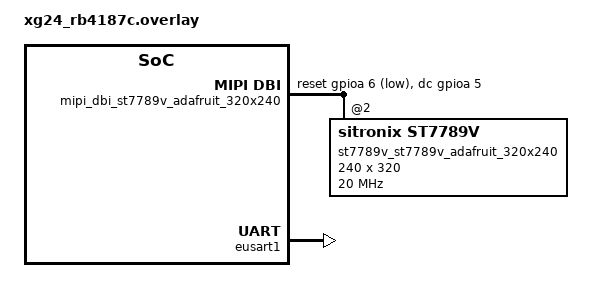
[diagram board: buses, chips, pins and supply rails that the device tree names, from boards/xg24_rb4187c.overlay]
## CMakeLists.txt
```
# SPDX-License-Identifier: Apache-2.0

cmake_minimum_required(VERSION 3.20.0)

find_package(Zephyr REQUIRED HINTS $ENV{ZEPHYR_BASE})
project(zephyr_st7789_demo)

target_sources(app PRIVATE src/main.c)
target_sources(app PRIVATE src/x11font_8x16.c)
target_sources(app PRIVATE src/picture_silabs_logo.c)
target_sources(app PRIVATE src/picture_silabs_gecko.c)
target_sources(app PRIVATE src/picture_silabs_efr32.c)
```

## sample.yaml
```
sample:
  description: The example demonstrate how to use ST7789 SPI display 
    with MIPI driver class on Zephyr OS
  name: Zephyr - ST7789 SPI display demo

tests:
  sample.basic.zephyr_st7789_demo:
    platform_allow : efr32xg24_brd4187c
    tags: experimental
```

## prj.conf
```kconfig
CONFIG_DEBUG=y
CONFIG_NO_OPTIMIZATIONS=y

CONFIG_MAIN_STACK_SIZE=4096

CONFIG_HEAP_MEM_POOL_SIZE=192000
CONFIG_LOG=y
CONFIG_DISPLAY=y
CONFIG_ST7789V_RGB565=y

CONFIG_SPI=y
CONFIG_UART_INTERRUPT_DRIVEN=y
CONFIG_SPI_SILABS_EUSART_DMA=y
```

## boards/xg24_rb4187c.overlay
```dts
/*
 * Copyright (c) 2025 Silabs
 *
 * SPDX-License-Identifier: Apache-2.0
 */

#include <zephyr/dt-bindings/mipi_dbi/mipi_dbi.h>


/ {
    leds {
        status = "disabled";
    };

	chosen {
		zephyr,display = &st7789v_st7789v_adafruit_320x240;

	};

    mipi_dbi_st7789v_adafruit_320x240 {
		compatible = "zephyr,mipi-dbi-spi";
		spi-dev = <&eusart1>;
		dc-gpios = < &gpioa 5 GPIO_ACTIVE_HIGH>;
		reset-gpios = < &gpioa 6 GPIO_ACTIVE_LOW>;
		write-only;
		#address-cells = <1>;
		#size-cells = <0>;

		st7789v_st7789v_adafruit_320x240: st7789v@2 {
			compatible = "sitronix,st7789v";
			mipi-max-frequency = <DT_FREQ_M(20)>;
			reg = <0x2>;
			width = <240>;
			height = <320>;
			x-offset = <0>;
			y-offset = <0>;
            vcom = <0x19>;
            gctrl = <0x35>;
            vrhs = <0x12>;
            vdvs = <0x20>;
            mdac = <0x00>;
            gamma = <0x01>;
            colmod = <0x05>;
            lcm = <0x2c>;
            porch-param = [0c 0c 00 33 33];
            cmd2en-param = [5a 69 02 01];
            pwctrl1-param = [a4 a1];
            pvgam-param = [D0 04 0D 11 13 2B 3F 54 4C 18 0D 0B 1F 23];
            nvgam-param = [D0 04 0C 11 13 2C 3F 44 51 2F 1F 1F 20 23];
            ram-param = [00 F8];
            rgb-param = [CD 08 14];
			mipi-mode = "MIPI_DBI_MODE_SPI_4WIRE";
		};
	};
};

/delete-node/ &ls0xx_ls013b7dh03;

&eusart1 {
	cs-gpios = <&gpioc 8 GPIO_ACTIVE_HIGH>, <&gpioc 4 GPIO_ACTIVE_LOW>, <&gpioc 0 GPIO_ACTIVE_LOW>;
    status = "okay";
};
```

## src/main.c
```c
/*
 * Copyright (c) 2019 Jan Van Winkel <jan.van_winkel@dxplore.eu>
 *
 * Based on ST7789V sample:
 * Copyright (c) 2019 Marc Reilly
 *
 * SPDX-License-Identifier: Apache-2.0
 */

#include <zephyr/logging/log.h>
LOG_MODULE_REGISTER(sample, LOG_LEVEL_INF);

#include <zephyr/kernel.h>
#include <zephyr/device.h>
#include <zephyr/drivers/display.h>
#include <zephyr/drivers/uart.h>
#include <zephyr/sys/byteorder.h>

// IBM like terminal font 8x16px stored in src/x11font_8x16.c
extern const unsigned char ibm_like816[];

// Image struct, exported with GIMP
typedef struct {
  unsigned int   width;
  unsigned int   height;
  unsigned int   bytes_per_pixel; /* 2:RGB16, 3:RGB, 4:RGBA */
  char          *comment;
  unsigned char  pixel_data[240 * 320 * 2 + 1];
} c_image;

// Images from src/picture_silabs_*.c
extern const c_image silabs_logo;
extern const c_image silabs_gecko;
extern const c_image silabs_efr32;

// Macro to convert RGB888 to RGB565 format
// Use input values 0..255 for r, g, b:
#define RGB_TO_RGB565(r, g, b)  ((uint16_t)             \
                                 ((((r) & 0xF8) << 8)   \
                                  | (((g) & 0xFC) << 3) \
                                  | (((b) & 0xF8) >> 3)))

#define COLOR_RGB_565_WHITE     (uint16_t) 0xffff
#define COLOR_RGB_565_BLACK     (uint16_t) 0x0000
#define COLOR_RGB_565_RED       RGB_TO_RGB565(255, 0, 0)
#define COLOR_RGB_565_GREEN     RGB_TO_RGB565(0, 255, 0)
#define COLOR_RGB_565_BLUE      RGB_TO_RGB565(0, 0, 255)

// Each pixel is defined in 2 bytes
#define BYTES_PER_PIXEL         2

// Font definitions to make life easier
#define FONT_ARRAY              ibm_like816
#define FONT_WIDTH              8
#define FONT_HEIGHT             16
// Charecter buffer size
#define CHAR_BUF_SIZE           (FONT_WIDTH * FONT_HEIGHT * BYTES_PER_PIXEL)

// How many characters can be displayed (rows and cols)
#define DISPLAY_FONT_MAX_CHAR_X 30
#define DISPLAY_FONT_MAX_CHAR_Y 20

void display_write_char(const struct device *dev,
                        char ch,
                        uint16_t color,
                        uint16_t bg_color)
{
  static int16_t pos_x = 0, pos_y = 0;
  static uint16_t char_buf[CHAR_BUF_SIZE];
  static struct display_buffer_descriptor char_buf_desc = {
    .buf_size = CHAR_BUF_SIZE,
    .pitch = FONT_WIDTH,
    .width = FONT_WIDTH,
    .height = FONT_HEIGHT,
    .frame_incomplete = true,
  };
  uint16_t pix;

  if (ch == '\0') {
    // In this case set the cursor to start
    pos_x = 0;
    pos_y = 0;
  }

  if ((pos_x == 0) && (pos_y == 0)) {
    // Clean the display if the cursor is top left
    for (uint16_t i = 0; i < char_buf_desc.buf_size; i++) {
      char_buf[i] = bg_color;
    }
    // and cover the display with background
    for (uint16_t j = 0; j < DISPLAY_FONT_MAX_CHAR_Y; j++) {
      for (uint16_t i = 0; i < DISPLAY_FONT_MAX_CHAR_X; i++) {
        // It would be more efficient with larger buffer
        display_write(dev,
                      i * FONT_WIDTH,
                      j * FONT_HEIGHT,
                      &char_buf_desc,
                      char_buf);
      }
    }
  }

  if (ch == '\0') {
    return;
  }

  if (ch == '\r') {
    // Case of new line
    pos_x = 0;
    pos_y++;
  } else {
    // Draw into the buffer the current character font
    // The font has 1 bit per pixel, the buffer has 2 bytes per pixel
    for (uint8_t j = 0; j < FONT_HEIGHT; j++) {
      for (uint8_t i = 0; i < FONT_WIDTH; i++) {
        if (FONT_ARRAY[((uint32_t)ch << 4) + j] & (0x80 >> i)) {
          pix = color;
        } else {
          pix = bg_color;
        }
        char_buf[j * FONT_WIDTH + i] = pix;
      }
    }

    // Send the buffer to the display
    display_write(dev,
                  pos_x * FONT_WIDTH,
                  pos_y * FONT_HEIGHT,
                  &char_buf_desc,
                  char_buf);

    // Step the position for next character
    pos_x++;

    // In case of reaching the end of line:
    if (pos_x == DISPLAY_FONT_MAX_CHAR_X) {
      // Step to he new line
      pos_x = 0;
      pos_y++;
    }
  }

  // In che case of reaching the end of display:
  if (pos_y == DISPLAY_FONT_MAX_CHAR_Y) {
    pos_y = 0;
  }
}

void display_clean_set_bg(uint16_t bg_color,
                          const struct device *dev,
                          const struct display_capabilities *display_cap,
                          uint16_t *buf,
                          const struct display_buffer_descriptor *buf_desc)
{
  // Fill up the buffer with background color
  for (uint16_t i = 0; i < buf_desc->buf_size; i++) {
    buf[i] = bg_color;
  }

  // Cover the entry display with buffer
  for (int y = 0; y < display_cap->y_resolution; y += buf_desc->height) {
    // y is the position where we currently update
    // the display with the partial buffer:
    display_write(dev, 0, y, buf_desc, buf);
  }
}

// Display and serial devices from DTS
static const struct device *const display_dev =
  DEVICE_DT_GET(DT_CHOSEN(zephyr_display));
static const struct device *const uart_dev =
  DEVICE_DT_GET(DT_CHOSEN(zephyr_shell_uart));

volatile char uart_new_ch;

// Keywords for easter egg function (to show pictures)
char keyword_gecko[] = "gecko";
char keyword_silabs[] = "silabs";
char keyword_efr32[] = "efr32";

enum states_t {
  show_welcome,
  waiting_for_uart_input,
  new_char_arrived,
  enter_keyword,
  finished_keyword_silabs,
  finished_keyword_gecko,
  finished_keyword_efr32,
  wait
};

volatile enum states_t demo_app_state = show_welcome;

char welcome_string1[] = "Hi!\r";
char welcome_string2[] =
  "Send something on UART and it will displayed here\r(or try to type gecko;)\r";

// UART callback function
void uart_cb(const struct device *dev, void *user_data)
{
  uint8_t c;

  if (!uart_irq_update(uart_dev)) {
    return;
  }

  if (!uart_irq_rx_ready(uart_dev)) {
    return;
  }

  while (uart_fifo_read(uart_dev, &c, 1) == 1) {
    uart_new_ch = c;
    demo_app_state = new_char_arrived;
  }
}

int uart_init()
{
  int ret;

  if (!device_is_ready(uart_dev)) {
    LOG_ERR("Device %s not found. Exiting.",
            uart_dev->name);
    return -1;
  }

  // Set UART interrupt callback
  ret = uart_irq_callback_user_data_set(uart_dev, uart_cb, NULL);
  if (ret < 0) {
    if (ret == -ENOTSUP) {
      printk("Interrupt-driven UART API support not enabled\n");
    } else if (ret == -ENOSYS) {
      printk("UART device does not support interrupt-driven API\n");
    } else {
      printk("Error setting UART callback: %d\n", ret);
    }
    return -1;
  }

  /* Enable rx interrupts */
  uart_irq_rx_enable(uart_dev);

  return 0;
}

int main(void)
{
  // It will be allocated now on Zephyr heap:
  uint16_t *graphical_buf;
  struct display_buffer_descriptor graphical_buf_desc;

  struct display_capabilities display_capabilities;
  struct display_buffer_descriptor image_buf_desc;

  // Position in the keywords, it will be updated when a new character is
  //   received on UART
  uint16_t keyword_pos = 0;

  // Check and init UART
  if (uart_init() < 0) {
    return 0;
  }

  // Check and init SPI display
  if (!device_is_ready(display_dev)) {
    LOG_ERR("Device %s not found. Exiting.", display_dev->name);
    return 0;
  }

  display_blanking_on(display_dev);

  LOG_INF("Display example for %s", display_dev->name);

  display_get_capabilities(display_dev, &display_capabilities);

  // This example application only supports RGB565 pixel format
  if (display_capabilities.current_pixel_format != PIXEL_FORMAT_RGB_565) {
    LOG_ERR("Unsupported pixel format. Exiting.");
    return 0;
  }

  graphical_buf_desc.buf_size = display_capabilities.x_resolution
                                * display_capabilities.y_resolution
                                * BYTES_PER_PIXEL;
  graphical_buf_desc.pitch = display_capabilities.x_resolution;
  graphical_buf_desc.width = display_capabilities.x_resolution;
  graphical_buf_desc.height = display_capabilities.y_resolution;
  graphical_buf_desc.frame_incomplete = false;

  // The frame buffer now allocated on kernel heap
  // Not forget to increase the heap size (eg in prj.conf)
  // CONFIG_HEAP_MEM_POOL_SIZE=192000
  // (and in some cases it would be better to move to globals)
  graphical_buf = k_malloc(graphical_buf_desc.buf_size);
  if (graphical_buf == NULL) {
    LOG_ERR("Could not allocate memory. Exiting.");
    return 0;
  }

  // Fill the buffer with background color
  for (int i = 0; i < 320 * 240; i++) {
    graphical_buf[i] = RGB_TO_RGB565(46, 52, 64);
  }

  // These image buffers are stored in flash
  // here just needs to set the buffer descriptor
  // all images are the same size as the display: 240x320
  image_buf_desc.buf_size = sizeof(silabs_logo.pixel_data);
  image_buf_desc.pitch = silabs_logo.width;
  image_buf_desc.width = silabs_logo.width;
  image_buf_desc.height = silabs_logo.height;
  image_buf_desc.frame_incomplete = false;

  display_write(display_dev, 0, 0, &graphical_buf_desc, graphical_buf);

  display_blanking_off(display_dev);

  LOG_INF("Display starts");

  demo_app_state = show_welcome;

  while (true) {
    switch (demo_app_state)
    {
      case show_welcome:
        // Write welcome to display

        // Set the character position to 0,0
        // It will clean the display
        display_write_char(display_dev,
                           '\0',
                           RGB_TO_RGB565(236, 239, 244),
                           RGB_TO_RGB565(46, 52, 64));

        // Show the greeting text
        for (int i = 0; i < sizeof(welcome_string1) - 1; i++) {
          display_write_char(display_dev, welcome_string1[i],
                             RGB_TO_RGB565(236, 239, 244),
                             RGB_TO_RGB565(46, 52, 64));
        }
        for (int i = 0; i < sizeof(welcome_string2) - 1; i++) {
          display_write_char(display_dev, welcome_string2[i],
                             RGB_TO_RGB565(130, 162, 192),
                             RGB_TO_RGB565(46, 52, 64));
        }

        // This variable tracks the silabs, gecko, efr32 keywords position
        keyword_pos = 0;

        // Init is finished, jump to wait
        demo_app_state = waiting_for_uart_input;
        break;

      case waiting_for_uart_input:
        // do nothing here, just wait
        // demo_app_state will be changed in serial_cb callback function
        break;

      case new_char_arrived:
        // show on display:
        display_write_char(display_dev,
                           uart_new_ch,
                           RGB_TO_RGB565(164, 189, 142),
                           RGB_TO_RGB565(46, 52, 64));

        // echo back:
        uart_poll_out(uart_dev, uart_new_ch);

        // decoding the input if matches any keyword
        if (uart_new_ch == keyword_gecko[keyword_pos]) {
          if (keyword_pos == sizeof(keyword_gecko) - 2) {
            // keyword finished
            keyword_pos = 0;
            demo_app_state = finished_keyword_gecko;
          } else {
            // keyword not yet finished
            keyword_pos++;
            demo_app_state = waiting_for_uart_input;
          }
        } else if (uart_new_ch == keyword_silabs[keyword_pos]) {
          if (keyword_pos == sizeof(keyword_silabs) - 2) {
            // keyword finished
            keyword_pos = 0;
            demo_app_state = finished_keyword_silabs;
          } else {
            // keyword not yet finished
            keyword_pos++;
            demo_app_state = waiting_for_uart_input;
          }
        } else if (uart_new_ch == keyword_efr32[keyword_pos]) {
          if (keyword_pos == sizeof(keyword_efr32) - 2) {
            // keyword finished
            keyword_pos = 0;
            demo_app_state = finished_keyword_efr32;
          } else {
            // keyword not yet finished
            keyword_pos++;
            demo_app_state = waiting_for_uart_input;
          }
        } else {
          // keyword not finished
          // or random character arrived
          keyword_pos = 0;
          demo_app_state = waiting_for_uart_input;
        }
        break;

      case finished_keyword_gecko:
        // show gecko logo
        display_write(display_dev,
                      0,
                      0,
                      &image_buf_desc,
                      silabs_gecko.pixel_data);

        demo_app_state = wait;
        break;

      case finished_keyword_silabs:
        // show silabs logo
        display_write(display_dev, 0, 0, &image_buf_desc,
                      silabs_logo.pixel_data);

        demo_app_state = wait;
        break;

      case finished_keyword_efr32:
        // show efr32 logo
        display_write(display_dev,
                      0,
                      0,
                      &image_buf_desc,
                      silabs_efr32.pixel_data);

        demo_app_state = wait;
        break;

      case wait:
        // wait some time to show the image
        k_msleep(2000);

        // return to start
        demo_app_state = show_welcome;
        break;

      default:
        break;
    }
  }

  return 0;
}
```
